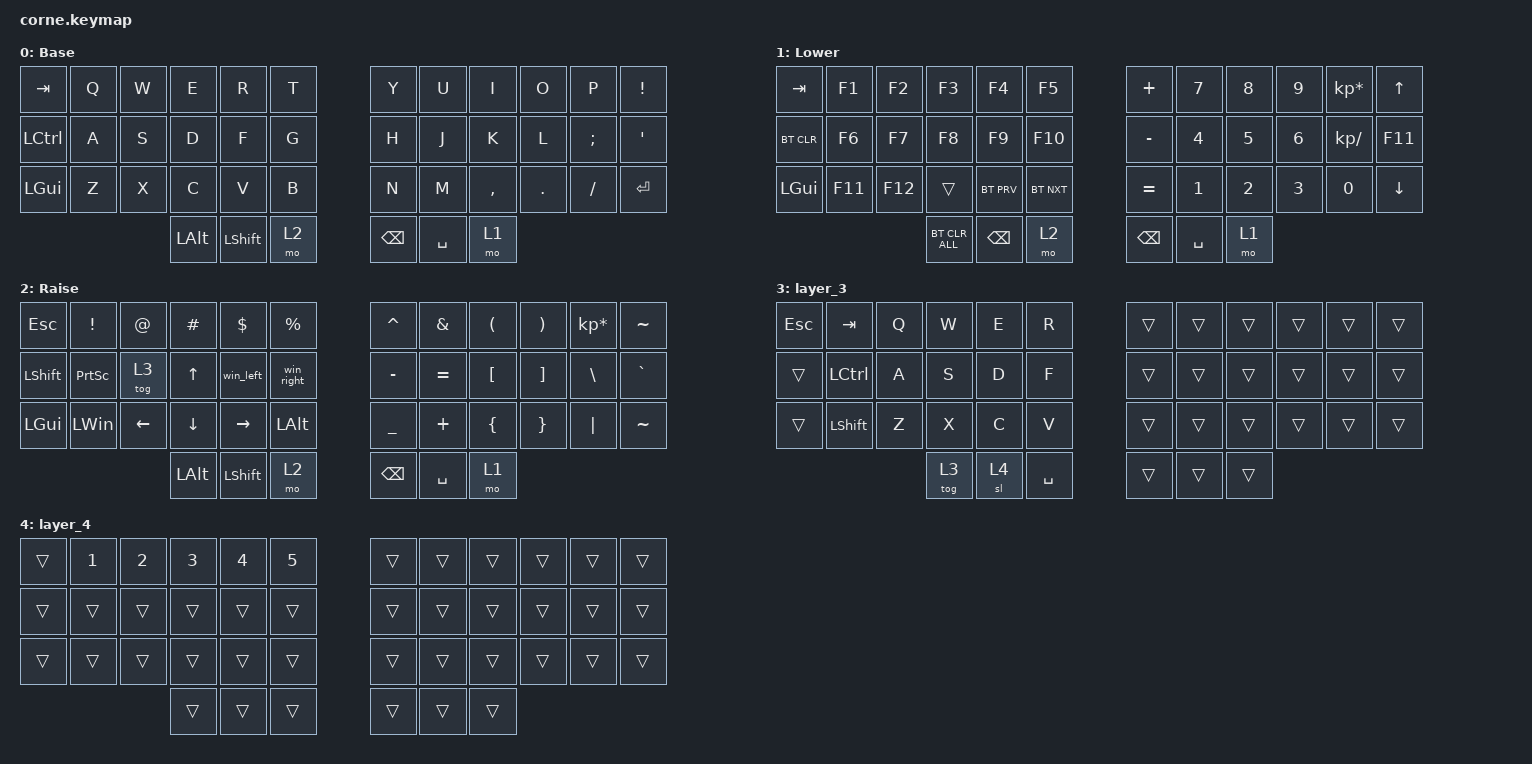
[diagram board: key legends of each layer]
/*
 * Copyright (c) 2020 The ZMK Contributors
 *
 * SPDX-License-Identifier: MIT
 */

#include <behaviors.dtsi>
#include <dt-bindings/zmk/bt.h>
#include <dt-bindings/zmk/keys.h>

/ {
    macros {
        win_left: win_left {
            compatible = "zmk,behavior-macro";
            #binding-cells = <0>;
            bindings =
                <&macro_press>,
                <&kp LSHIFT &kp LEFT_WIN>,
                <&macro_press>,
                <&kp LEFT>,
                <&macro_press>,
                <&macro_release>,
                <&kp LEFT_SHIFT &kp LEFT_WIN &kp LEFT>,
                <&macro_release>;

            label = "WIN_LEFT";
            tap-ms = <200>;
        };

        win_right: win_right {
            compatible = "zmk,behavior-macro";
            #binding-cells = <0>;
            bindings =
                <&macro_press>,
                <&kp LEFT_SHIFT &kp LWIN>,
                <&macro_press>,
                <&kp RIGHT>,
                <&macro_press>,
                <&macro_release>,
                <&kp LEFT_SHIFT &kp LEFT_WIN &kp RIGHT>,
                <&macro_release>;

            label = "WIN_RIGHT";
            tap-ms = <200>;
        };
    };

    keymap {
        compatible = "zmk,keymap";

        default_layer {
            // -----------------------------------------------------------------------------------------
            // |  TAB |  Q  |  W  |  E  |  R  |  T  |   |  Y  |  U   |  I  |  O  |  P  | BKSP |
            // | CTRL |  A  |  S  |  D  |  F  |  G  |   |  H  |  J   |  K  |  L  |  ;  |  '   |
            // | SHFT |  Z  |  X  |  C  |  V  |  B  |   |  N  |  M   |  ,  |  .  |  /  | ESC  |
            //                    | GUI | LWR | SPC |   | ENT | RSE  | ALT |

            display-name = "Base";
            bindings = <
&kp TAB    &kp Q  &kp W  &kp E         &kp R           &kp T    &kp Y          &kp U      &kp I      &kp O    &kp P     &kp EXCL
&kp LCTRL  &kp A  &kp S  &kp D         &kp F           &kp G    &kp H          &kp J      &kp K      &kp L    &kp SEMI  &kp APOS
&kp LGUI   &kp Z  &kp X  &kp C         &kp V           &kp B    &kp N          &kp M      &kp COMMA  &kp DOT  &kp FSLH  &kp ENTER
                         &kp LEFT_ALT  &kp LEFT_SHIFT  &mo 2    &kp BACKSPACE  &kp SPACE  &mo 1
            >;
        };

        lower_layer {
            // -----------------------------------------------------------------------------------------
            // |  TAB |  1  |  2  |  3  |  4  |  5  |   |  6  |  7  |  8  |  9  |  0  | BKSP |
            // | BTCLR| BT1 | BT2 | BT3 | BT4 | BT5 |   | LFT | DWN |  UP | RGT |     |      |
            // | SHFT |     |     |     |     |     |   |     |     |     |     |     |      |
            //                    | GUI |     | SPC |   | ENT |     | ALT |

            display-name = "Lower";
            bindings = <
&kp TAB     &kp F1   &kp F2   &kp F3          &kp F4         &kp F5        &kp PLUS       &kp N7     &kp N8  &kp N9  &kp KP_MULTIPLY  &kp UP
&bt BT_CLR  &kp F6   &kp F7   &kp F8          &kp F9         &kp F10       &kp MINUS      &kp N4     &kp N5  &kp N6  &kp KP_DIVIDE    &kp F11
&kp LGUI    &kp F11  &kp F12  &trans          &bt BT_PRV     &bt BT_NXT    &kp EQUAL      &kp N1     &kp N2  &kp N3  &kp N0           &kp DOWN
                              &bt BT_CLR_ALL  &kp BACKSPACE  &mo 2         &kp BACKSPACE  &kp SPACE  &mo 1
            >;
        };

        raise_layer {
            // -----------------------------------------------------------------------------------------
            // |  TAB |  !  |  @  |  #  |  $  |  %  |   |  ^  |  &  |  *  |  (  |  )  | BKSP |
            // | CTRL |     |     |     |     |     |   |  -  |  =  |  [  |  ]  |  \  |  `   |
            // | SHFT |     |     |     |     |     |   |  _  |  +  |  {  |  }  | "|" |  ~   |
            //                    | GUI |     | SPC |   | ENT |     | ALT |

            display-name = "Raise";
            bindings = <
&kp ESC    &kp EXCL         &kp AT    &kp HASH      &kp DLLR        &kp PRCNT       &kp CARET      &kp AMPS   &kp LEFT_PARENTHESIS  &kp RIGHT_PARENTHESIS  &kp KP_ASTERISK  &kp TILDE
&kp LSHFT  &kp PRINTSCREEN  &tog 3    &kp UP        &win_left       &win_right      &kp MINUS      &kp EQUAL  &kp LBKT              &kp RBKT               &kp BSLH         &kp GRAVE
&kp LGUI   &kp LEFT_WIN     &kp LEFT  &kp DOWN      &kp RIGHT       &kp LEFT_ALT    &kp UNDER      &kp PLUS   &kp LBRC              &kp RBRC               &kp PIPE         &kp TILDE
                                      &kp LEFT_ALT  &kp LEFT_SHIFT  &mo 2           &kp BACKSPACE  &kp SPACE  &mo 1
            >;
        };

        layer_3 {
            bindings = <
&kp ESC  &kp TAB           &kp Q  &kp W   &kp E  &kp R        &trans  &trans  &trans  &trans  &trans  &trans
&trans   &kp LEFT_CONTROL  &kp A  &kp S   &kp D  &kp F        &trans  &trans  &trans  &trans  &trans  &trans
&trans   &kp LEFT_SHIFT    &kp Z  &kp X   &kp C  &kp V        &trans  &trans  &trans  &trans  &trans  &trans
                                  &tog 3  &sl 4  &kp SPACE    &trans  &trans  &trans
            >;
        };

        layer_4 {
            bindings = <
&trans  &kp N1  &kp N2  &kp N3  &kp N4  &kp N5    &trans  &trans  &trans  &trans  &trans  &trans
&trans  &trans  &trans  &trans  &trans  &trans    &trans  &trans  &trans  &trans  &trans  &trans
&trans  &trans  &trans  &trans  &trans  &trans    &trans  &trans  &trans  &trans  &trans  &trans
                        &trans  &trans  &trans    &trans  &trans  &trans
            >;
        };
    };
};
